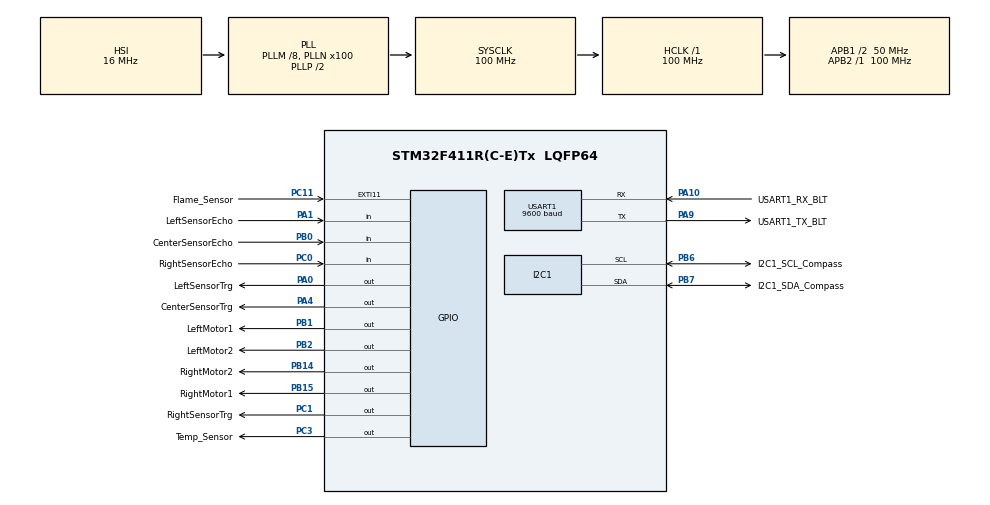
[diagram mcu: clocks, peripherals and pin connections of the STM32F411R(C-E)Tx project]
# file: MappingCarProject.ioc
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Dma.Request0=USART1_RX
Dma.Request1=USART1_TX
Dma.USART1_RX.0.Direction=DMA_PERIPH_TO_MEMORY
Dma.USART1_RX.0.FIFOMode=DMA_FIFOMODE_DISABLE
Dma.USART1_RX.0.Instance=DMA2_Stream2
Dma.USART1_RX.0.MemDataAlignment=DMA_MDATAALIGN_BYTE
Dma.USART1_RX.0.MemInc=DMA_MINC_ENABLE
Dma.USART1_RX.0.Mode=DMA_CIRCULAR
Dma.USART1_RX.0.PeriphDataAlignment=DMA_PDATAALIGN_BYTE
Dma.USART1_RX.0.PeriphInc=DMA_PINC_DISABLE
Dma.USART1_RX.0.Priority=DMA_PRIORITY_VERY_HIGH
Dma.USART1_TX.1.Direction=DMA_MEMORY_TO_PERIPH
Dma.USART1_TX.1.FIFOMode=DMA_FIFOMODE_DISABLE
Dma.USART1_TX.1.Instance=DMA2_Stream7
Dma.USART1_TX.1.MemDataAlignment=DMA_MDATAALIGN_BYTE
Dma.USART1_TX.1.MemInc=DMA_MINC_ENABLE
Dma.USART1_TX.1.Mode=DMA_NORMAL
Dma.USART1_TX.1.PeriphDataAlignment=DMA_PDATAALIGN_BYTE
Dma.USART1_TX.1.PeriphInc=DMA_PINC_DISABLE
Dma.USART1_TX.1.Priority=DMA_PRIORITY_VERY_HIGH
Mcu.Family=STM32F4
Mcu.Name=STM32F411R(C-E)Tx
Mcu.Package=LQFP64
NVIC.DMA2_Stream2_IRQn=true\:0\:0\:false\:false\:true\:false\:true
NVIC.DMA2_Stream7_IRQn=true\:0\:0\:false\:false\:true\:false\:true
NVIC.EXTI15_10_IRQn=true\:0\:0\:false\:false\:true\:true\:true
NVIC.PriorityGroup=NVIC_PRIORITYGROUP_0
NVIC.TIM1_UP_TIM10_IRQn=true\:0\:0\:false\:false\:true\:true\:true
NVIC.TIM2_IRQn=true\:0\:0\:false\:false\:true\:true\:true
NVIC.TIM4_IRQn=true\:0\:0\:false\:false\:true\:true\:true
NVIC.USART1_IRQn=true\:0\:0\:false\:false\:true\:true\:true
PA0-WKUP.GPIO_Label=LeftSensorTrg
PA0-WKUP.GPIO_Speed=GPIO_SPEED_FREQ_VERY_HIGH
PA0-WKUP.Signal=GPIO_Output
PA1.GPIO_Label=LeftSensorEcho
PA1.Signal=GPIO_Input
PA10.GPIO_Label=USART1_RX_BLT
PA10.Mode=Asynchronous
PA10.Signal=USART1_RX
PA4.GPIO_Label=CenterSensorTrg
PA4.GPIO_Speed=GPIO_SPEED_FREQ_VERY_HIGH
PA4.Signal=GPIO_Output
PA9.GPIO_Label=USART1_TX_BLT
PA9.Mode=Asynchronous
PA9.Signal=USART1_TX
PB0.GPIO_Label=CenterSensorEcho
PB0.Signal=GPIO_Input
PB1.GPIO_Label=LeftMotor1
PB1.GPIO_Speed=GPIO_SPEED_FREQ_VERY_HIGH
PB1.Signal=GPIO_Output
PB14.GPIO_Label=RightMotor2
PB14.GPIO_Speed=GPIO_SPEED_FREQ_VERY_HIGH
PB14.Signal=GPIO_Output
PB15.GPIO_Label=RightMotor1
PB15.GPIO_Speed=GPIO_SPEED_FREQ_VERY_HIGH
PB15.Signal=GPIO_Output
PB2.GPIO_Label=LeftMotor2
PB2.GPIO_Speed=GPIO_SPEED_FREQ_VERY_HIGH
PB2.Signal=GPIO_Output
PB6.GPIO_Label=I2C1_SCL_Compass
PB6.Mode=I2C
PB6.Signal=I2C1_SCL
PB7.GPIO_Label=I2C1_SDA_Compass
PB7.Mode=I2C
PB7.Signal=I2C1_SDA
PC0.GPIO_Label=RightSensorEcho
PC0.Signal=GPIO_Input
PC1.GPIO_Label=RightSensorTrg
PC1.GPIO_Speed=GPIO_SPEED_FREQ_VERY_HIGH
PC1.Signal=GPIO_Output
PC11.GPIO_Label=Flame_Sensor
PC11.GPIO_ModeDefaultEXTI=GPIO_MODE_IT_RISING_FALLING
PC11.GPIO_PuPd=GPIO_NOPULL
PC11.Signal=GPXTI11
PC3.GPIO_Label=Temp_Sensor
PC3.GPIO_PuPd=GPIO_PULLUP
PC3.GPIO_Speed=GPIO_SPEED_FREQ_VERY_HIGH
PC3.Signal=GPIO_Output
ProjectManager.HeapSize=0x200
ProjectManager.StackSize=0x400
ProjectManager.TargetToolchain=STM32CubeIDE
RCC.48MHZClocksFreq_Value=50000000
RCC.AHBFreq_Value=100000000
RCC.APB1CLKDivider=RCC_HCLK_DIV2
RCC.APB1Freq_Value=50000000
RCC.APB1TimFreq_Value=100000000
RCC.APB2Freq_Value=100000000
RCC.APB2TimFreq_Value=100000000
RCC.CortexFreq_Value=100000000
RCC.FLatency-AdvancedSettings=FLASH_LATENCY_3
RCC.HCLKFreq_Value=100000000
RCC.HSE_VALUE=8000000
RCC.HSI_VALUE=16000000
RCC.LSE_VALUE=32768
RCC.PLLM=8
RCC.PLLN=100
RCC.SYSCLKFreq_VALUE=100000000
RCC.SYSCLKSource=RCC_SYSCLKSOURCE_PLLCLK
RCC.VCOOutputFreq_Value=200000000
TIM1.Period=80-1
TIM1.Prescaler=50000-1
TIM2.Period=5000-1
TIM2.Prescaler=10000-1
TIM3.Period=0xffff-1
TIM3.Prescaler=100-1
TIM4.Period=7500-1
TIM4.Prescaler=10000-1
USART1.BaudRate=9600
USART1.VirtualMode=VM_ASYNC
VP_TIM1_VS_ClockSourceINT.Mode=Internal
VP_TIM2_VS_ClockSourceINT.Mode=Internal
VP_TIM3_VS_ClockSourceINT.Mode=Internal
VP_TIM4_VS_ClockSourceINT.Mode=Internal
board=NUCLEO-F411RE

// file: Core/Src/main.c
/* USER CODE BEGIN Header */
/**
  ******************************************************************************
  * @file           : main.c
  * @brief          : Main program body
  ******************************************************************************
  * @attention
  *
  * <h2><center>&copy; Copyright (c) 2020 STMicroelectronics.
  * All rights reserved.</center></h2>
  *
  * This software component is licensed by ST under BSD 3-Clause license,
  * the "License"; You may not use this file except in compliance with the
  * License. You may obtain a copy of the License at:
  *                        opensource.org/licenses/BSD-3-Clause
  *
  ******************************************************************************
  */
/* USER CODE END Header */

#include "main.h"

/* USER CODE BEGIN Includes */
#include "MotorDriver.h"
#include "BluetoothCom.h"
#include "Magnetometer.h"
#include "WorkQueue.h"
#include <stdio.h>
#include "Temperature.h"
#include "DelayMS.h"
#include "UltraSonicSensor.h"
#include "FlameSensor.h"

/* USER CODE END Includes */

I2C_HandleTypeDef hi2c1;

TIM_HandleTypeDef htim1;
TIM_HandleTypeDef htim2;
TIM_HandleTypeDef htim3;
TIM_HandleTypeDef htim4;

UART_HandleTypeDef huart1;
DMA_HandleTypeDef hdma_usart1_rx;
DMA_HandleTypeDef hdma_usart1_tx;

/* USER CODE BEGIN PV */
uint8_t rxData[3];
uint8_t workData[3];  // for timer interrupt
WorkQueue* workQueue;
/* USER CODE END PV */

void SystemClock_Config(void);
static void MX_GPIO_Init(void);
static void MX_DMA_Init(void);
static void MX_TIM1_Init(void);
static void MX_TIM2_Init(void);
static void MX_TIM3_Init(void);
static void MX_TIM4_Init(void);
static void MX_I2C1_Init(void);
static void MX_USART1_UART_Init(void);
/* USER CODE BEGIN PFP */
void HAL_TIM_PeriodElapsedCallback(TIM_HandleTypeDef *htim)
{

	if(htim == &htim1){
		motorTimerCallback();
		workData[0] =21; // go forward return
		workData[1] =getMotorValue();
		enqueue(workQueue,workData,2);

	}else if(htim == &htim2){ // read compass and ultrasonic sensor
		workData[0] = 40;   // read compass
		enqueue(workQueue,workData,1);
		workData[0] =30; // read distances
		enqueue(workQueue,workData,1);
	}else if(htim == &htim4){  // read temperature
		HAL_TIM_Base_Stop_IT(&htim4); // stop timer
		workData[0] =61; // send temperature value
		enqueue(workQueue,workData,1);
	}
}

void HAL_UART_RxCpltCallback(UART_HandleTypeDef *huart){
//   Prevent unused argument(s) compilation warning
  UNUSED(huart);
 /*  NOTE: This function should not be modified, when the callback is needed,
           the HAL_UART_RxCpltCallback could be implemented in the user file
*/

  enqueue(workQueue,rxData,3);  // add data to the queue

}

void HAL_GPIO_EXTI_Callback(uint16_t GPIO_Pin)
{
  /* Prevent unused argument(s) compilation warning */
  UNUSED(GPIO_Pin);
  /* NOTE: This function Should not be modified, when the callback is needed,
           the HAL_GPIO_EXTI_Callback could be implemented in the user file
   */

  workData[0] =50;  // flame sensor
  enqueue(workQueue,workData,1);
}

void startSensorTimers(){
	HAL_TIM_Base_Start_IT(&htim2); // magnetometer timer
}

void stopSensorTimers(){
	HAL_TIM_Base_Stop_IT(&htim2); // magnetometer timer
}
/* USER CODE END PFP */

int main(void)
{

  /* MCU Configuration--------------------------------------------------------*/

  /* Reset of all peripherals, Initializes the Flash interface and the Systick. */
  HAL_Init();

  /* Configure the system clock */
  SystemClock_Config();

  /* Initialize all configured peripherals */
  MX_GPIO_Init();
  MX_DMA_Init();
  MX_TIM1_Init();
  MX_TIM2_Init();
  MX_TIM3_Init();
  MX_TIM4_Init();
  MX_I2C1_Init();
  MX_USART1_UART_Init();
  /* USER CODE BEGIN 2 */
  workQueue =createQueue(500);

    initDelayMS(&htim3);

    initMotorDriver(LeftMotor1_GPIO_Port,LeftMotor1_Pin,LeftMotor2_Pin,RightMotor1_Pin,RightMotor2_Pin,&htim1);

    initBluetooth(&huart1,rxData,3);

    initMagnetometer(&hi2c1);

    initTemperatureSensor(Temp_Sensor_GPIO_Port,Temp_Sensor_Pin,&htim4);

    initFlameSensor(Flame_Sensor_GPIO_Port,Flame_Sensor_Pin);

    initUltraSonicSensor(LeftSensorTrg_GPIO_Port,LeftSensorTrg_Pin,LeftSensorEcho_GPIO_Port,LeftSensorEcho_Pin
  		  ,CenterSensorTrg_GPIO_Port,CenterSensorTrg_Pin,CenterSensorEcho_GPIO_Port,CenterSensorEcho_Pin
  		  ,RightSensorTrg_GPIO_Port,RightSensorTrg_Pin,RightSensorEcho_GPIO_Port,RightSensorEcho_Pin,&htim3);

    startSensorTimers();

  /* USER CODE END 2 */

  /* Infinite loop */
  /* USER CODE BEGIN WHILE */
    uint8_t* currentWork;
    uint16_t value;
  while (1)
  {
	  currentWork =dequeue(workQueue);
		  if(currentWork != NULL){
				switch(currentWork[0]){
				case 10:  // turn command
					stopSensorTimers();
					value = ((uint16_t)(currentWork[1] << 8)) | currentWork[2];
					turnCar(value);
					sendMotorMissionEnded();
					startSensorTimers();
					break;
				case 20 :  // go forward command
					stopSensorTimers();
					readCompass(1);
					measureDistances(0);
					value = ((uint16_t)(currentWork[1] << 8)) | currentWork[2];
					goForward(value);
					break;
				case 21 : // go forward return
					readCompass(0);
					motorGoForwardReturn();
					measureDistances(1);
					if(currentWork[1] == 0){
						sendMotorMissionEnded();
						startSensorTimers();
					}
					break;
				case 25 : // stop mission command
					setMotorValue(1);
					break;
				case 30 :
					measureDistances(0);
					break;
				case 40:
					readCompass(0);
					break;
				case 50:
					readFlameSensor();
					break;
				case 60:  // measure temperature
					measureTemperature();
					break;
				case 61:  // send temperature value
					sendTemperatureVal();
					break;
				default :
					break;
				}
		  }

    /* USER CODE END WHILE */

  }
}

void SystemClock_Config(void)
{
  RCC_OscInitTypeDef RCC_OscInitStruct = {0};
  RCC_ClkInitTypeDef RCC_ClkInitStruct = {0};

  /** Configure the main internal regulator output voltage
  */
  __HAL_RCC_PWR_CLK_ENABLE();
  __HAL_PWR_VOLTAGESCALING_CONFIG(PWR_REGULATOR_VOLTAGE_SCALE1);
  /** Initializes the CPU, AHB and APB busses clocks
  */
  RCC_OscInitStruct.OscillatorType = RCC_OSCILLATORTYPE_HSI;
  RCC_OscInitStruct.HSIState = RCC_HSI_ON;
  RCC_OscInitStruct.HSICalibrationValue = RCC_HSICALIBRATION_DEFAULT;
  RCC_OscInitStruct.PLL.PLLState = RCC_PLL_ON;
  RCC_OscInitStruct.PLL.PLLSource = RCC_PLLSOURCE_HSI;
  RCC_OscInitStruct.PLL.PLLM = 8;
  RCC_OscInitStruct.PLL.PLLN = 100;
  RCC_OscInitStruct.PLL.PLLP = RCC_PLLP_DIV2;
  RCC_OscInitStruct.PLL.PLLQ = 4;
  if (HAL_RCC_OscConfig(&RCC_OscInitStruct) != HAL_OK)
  {
    Error_Handler();
  }
  /** Initializes the CPU, AHB and APB busses clocks
  */
  RCC_ClkInitStruct.ClockType = RCC_CLOCKTYPE_HCLK|RCC_CLOCKTYPE_SYSCLK
                              |RCC_CLOCKTYPE_PCLK1|RCC_CLOCKTYPE_PCLK2;
  RCC_ClkInitStruct.SYSCLKSource = RCC_SYSCLKSOURCE_PLLCLK;
  RCC_ClkInitStruct.AHBCLKDivider = RCC_SYSCLK_DIV1;
  RCC_ClkInitStruct.APB1CLKDivider = RCC_HCLK_DIV2;
  RCC_ClkInitStruct.APB2CLKDivider = RCC_HCLK_DIV1;

  if (HAL_RCC_ClockConfig(&RCC_ClkInitStruct, FLASH_LATENCY_3) != HAL_OK)
  {
    Error_Handler();
  }
}

static void MX_I2C1_Init(void)
{

  hi2c1.Instance = I2C1;
  hi2c1.Init.ClockSpeed = 100000;
  hi2c1.Init.DutyCycle = I2C_DUTYCYCLE_2;
  hi2c1.Init.OwnAddress1 = 0;
  hi2c1.Init.AddressingMode = I2C_ADDRESSINGMODE_7BIT;
  hi2c1.Init.DualAddressMode = I2C_DUALADDRESS_DISABLE;
  hi2c1.Init.OwnAddress2 = 0;
  hi2c1.Init.GeneralCallMode = I2C_GENERALCALL_DISABLE;
  hi2c1.Init.NoStretchMode = I2C_NOSTRETCH_DISABLE;
  if (HAL_I2C_Init(&hi2c1) != HAL_OK)
  {
    Error_Handler();
  }

}

static void MX_TIM1_Init(void)
{

  TIM_ClockConfigTypeDef sClockSourceConfig = {0};
  TIM_MasterConfigTypeDef sMasterConfig = {0};

  htim1.Instance = TIM1;
  htim1.Init.Prescaler = 50000-1;
  htim1.Init.CounterMode = TIM_COUNTERMODE_UP;
  htim1.Init.Period = 80-1;
  htim1.Init.ClockDivision = TIM_CLOCKDIVISION_DIV1;
  htim1.Init.RepetitionCounter = 0;
  htim1.Init.AutoReloadPreload = TIM_AUTORELOAD_PRELOAD_DISABLE;
  if (HAL_TIM_Base_Init(&htim1) != HAL_OK)
  {
    Error_Handler();
  }
  sClockSourceConfig.ClockSource = TIM_CLOCKSOURCE_INTERNAL;
  if (HAL_TIM_ConfigClockSource(&htim1, &sClockSourceConfig) != HAL_OK)
  {
    Error_Handler();
  }
  sMasterConfig.MasterOutputTrigger = TIM_TRGO_RESET;
  sMasterConfig.MasterSlaveMode = TIM_MASTERSLAVEMODE_DISABLE;
  if (HAL_TIMEx_MasterConfigSynchronization(&htim1, &sMasterConfig) != HAL_OK)
  {
    Error_Handler();
  }
  /* USER CODE BEGIN TIM1_Init 2 */
  __HAL_TIM_CLEAR_IT(&htim1,TIM_SR_UIF);
  /* USER CODE END TIM1_Init 2 */

}

static void MX_TIM2_Init(void)
{

  TIM_ClockConfigTypeDef sClockSourceConfig = {0};
  TIM_MasterConfigTypeDef sMasterConfig = {0};

  htim2.Instance = TIM2;
  htim2.Init.Prescaler = 10000-1;
  htim2.Init.CounterMode = TIM_COUNTERMODE_UP;
  htim2.Init.Period = 5000-1;
  htim2.Init.ClockDivision = TIM_CLOCKDIVISION_DIV1;
  htim2.Init.AutoReloadPreload = TIM_AUTORELOAD_PRELOAD_DISABLE;
  if (HAL_TIM_Base_Init(&htim2) != HAL_OK)
  {
    Error_Handler();
  }
  sClockSourceConfig.ClockSource = TIM_CLOCKSOURCE_INTERNAL;
  if (HAL_TIM_ConfigClockSource(&htim2, &sClockSourceConfig) != HAL_OK)
  {
    Error_Handler();
  }
  sMasterConfig.MasterOutputTrigger = TIM_TRGO_RESET;
  sMasterConfig.MasterSlaveMode = TIM_MASTERSLAVEMODE_DISABLE;
  if (HAL_TIMEx_MasterConfigSynchronization(&htim2, &sMasterConfig) != HAL_OK)
  {
    Error_Handler();
  }
  /* USER CODE BEGIN TIM2_Init 2 */
  __HAL_TIM_CLEAR_IT(&htim2,TIM_SR_UIF);
  /* USER CODE END TIM2_Init 2 */

}

static void MX_TIM3_Init(void)
{

  TIM_ClockConfigTypeDef sClockSourceConfig = {0};
  TIM_MasterConfigTypeDef sMasterConfig = {0};

  htim3.Instance = TIM3;
  htim3.Init.Prescaler = 100-1;
  htim3.Init.CounterMode = TIM_COUNTERMODE_UP;
  htim3.Init.Period = 0xffff-1;
  htim3.Init.ClockDivision = TIM_CLOCKDIVISION_DIV1;
  htim3.Init.AutoReloadPreload = TIM_AUTORELOAD_PRELOAD_DISABLE;
  if (HAL_TIM_Base_Init(&htim3) != HAL_OK)
  {
    Error_Handler();
  }
  sClockSourceConfig.ClockSource = TIM_CLOCKSOURCE_INTERNAL;
  if (HAL_TIM_ConfigClockSource(&htim3, &sClockSourceConfig) != HAL_OK)
  {
    Error_Handler();
  }
  sMasterConfig.MasterOutputTrigger = TIM_TRGO_RESET;
  sMasterConfig.MasterSlaveMode = TIM_MASTERSLAVEMODE_DISABLE;
  if (HAL_TIMEx_MasterConfigSynchronization(&htim3, &sMasterConfig) != HAL_OK)
  {
    Error_Handler();
  }
  /* USER CODE BEGIN TIM3_Init 2 */
  __HAL_TIM_CLEAR_IT(&htim3,TIM_SR_UIF);
  /* USER CODE END TIM3_Init 2 */

}

static void MX_TIM4_Init(void)
{

  TIM_ClockConfigTypeDef sClockSourceConfig = {0};
  TIM_MasterConfigTypeDef sMasterConfig = {0};

  htim4.Instance = TIM4;
  htim4.Init.Prescaler = 10000-1;
  htim4.Init.CounterMode = TIM_COUNTERMODE_UP;
  htim4.Init.Period = 7500-1;
  htim4.Init.ClockDivision = TIM_CLOCKDIVISION_DIV1;
  htim4.Init.AutoReloadPreload = TIM_AUTORELOAD_PRELOAD_DISABLE;
  if (HAL_TIM_Base_Init(&htim4) != HAL_OK)
  {
    Error_Handler();
  }
  sClockSourceConfig.ClockSource = TIM_CLOCKSOURCE_INTERNAL;
  if (HAL_TIM_ConfigClockSource(&htim4, &sClockSourceConfig) != HAL_OK)
  {
    Error_Handler();
  }
  sMasterConfig.MasterOutputTrigger = TIM_TRGO_RESET;
  sMasterConfig.MasterSlaveMode = TIM_MASTERSLAVEMODE_DISABLE;
  if (HAL_TIMEx_MasterConfigSynchronization(&htim4, &sMasterConfig) != HAL_OK)
  {
    Error_Handler();
  }
  /* USER CODE BEGIN TIM4_Init 2 */
  __HAL_TIM_CLEAR_IT(&htim4,TIM_SR_UIF);
  /* USER CODE END TIM4_Init 2 */

}

static void MX_USART1_UART_Init(void)
{

  huart1.Instance = USART1;
  huart1.Init.BaudRate = 9600;
  huart1.Init.WordLength = UART_WORDLENGTH_8B;
  huart1.Init.StopBits = UART_STOPBITS_1;
  huart1.Init.Parity = UART_PARITY_NONE;
  huart1.Init.Mode = UART_MODE_TX_RX;
  huart1.Init.HwFlowCtl = UART_HWCONTROL_NONE;
  huart1.Init.OverSampling = UART_OVERSAMPLING_16;
  if (HAL_UART_Init(&huart1) != HAL_OK)
  {
    Error_Handler();
  }

}

static void MX_DMA_Init(void)
{

  /* DMA controller clock enable */
  __HAL_RCC_DMA2_CLK_ENABLE();

  /* DMA interrupt init */
  /* DMA2_Stream2_IRQn interrupt configuration */
  HAL_NVIC_SetPriority(DMA2_Stream2_IRQn, 0, 0);
  HAL_NVIC_EnableIRQ(DMA2_Stream2_IRQn);
  /* DMA2_Stream7_IRQn interrupt configuration */
  HAL_NVIC_SetPriority(DMA2_Stream7_IRQn, 0, 0);
  HAL_NVIC_EnableIRQ(DMA2_Stream7_IRQn);

}

static void MX_GPIO_Init(void)
{
  GPIO_InitTypeDef GPIO_InitStruct = {0};

  /* GPIO Ports Clock Enable */
  __HAL_RCC_GPIOC_CLK_ENABLE();
  __HAL_RCC_GPIOA_CLK_ENABLE();
  __HAL_RCC_GPIOB_CLK_ENABLE();

  /*Configure GPIO pin Output Level */
  HAL_GPIO_WritePin(GPIOC, RightSensorTrg_Pin|Temp_Sensor_Pin, GPIO_PIN_RESET);

  /*Configure GPIO pin Output Level */
  HAL_GPIO_WritePin(GPIOA, LeftSensorTrg_Pin|CenterSensorTrg_Pin, GPIO_PIN_RESET);

  /*Configure GPIO pin Output Level */
  HAL_GPIO_WritePin(GPIOB, LeftMotor1_Pin|LeftMotor2_Pin|RightMotor2_Pin|RightMotor1_Pin, GPIO_PIN_RESET);

  /*Configure GPIO pin : RightSensorEcho_Pin */
  GPIO_InitStruct.Pin = RightSensorEcho_Pin;
  GPIO_InitStruct.Mode = GPIO_MODE_INPUT;
  GPIO_InitStruct.Pull = GPIO_NOPULL;
  HAL_GPIO_Init(RightSensorEcho_GPIO_Port, &GPIO_InitStruct);

  /*Configure GPIO pin : RightSensorTrg_Pin */
  GPIO_InitStruct.Pin = RightSensorTrg_Pin;
  GPIO_InitStruct.Mode = GPIO_MODE_OUTPUT_PP;
  GPIO_InitStruct.Pull = GPIO_NOPULL;
  GPIO_InitStruct.Speed = GPIO_SPEED_FREQ_VERY_HIGH;
  HAL_GPIO_Init(RightSensorTrg_GPIO_Port, &GPIO_InitStruct);

  /*Configure GPIO pin : Temp_Sensor_Pin */
  GPIO_InitStruct.Pin = Temp_Sensor_Pin;
  GPIO_InitStruct.Mode = GPIO_MODE_OUTPUT_PP;
  GPIO_InitStruct.Pull = GPIO_PULLUP;
  GPIO_InitStruct.Speed = GPIO_SPEED_FREQ_VERY_HIGH;
  HAL_GPIO_Init(Temp_Sensor_GPIO_Port, &GPIO_InitStruct);

  /*Configure GPIO pins : LeftSensorTrg_Pin CenterSensorTrg_Pin */
  GPIO_InitStruct.Pin = LeftSensorTrg_Pin|CenterSensorTrg_Pin;
  GPIO_InitStruct.Mode = GPIO_MODE_OUTPUT_PP;
  GPIO_InitStruct.Pull = GPIO_NOPULL;
  GPIO_InitStruct.Speed = GPIO_SPEED_FREQ_VERY_HIGH;
  HAL_GPIO_Init(GPIOA, &GPIO_InitStruct);

  /*Configure GPIO pin : LeftSensorEcho_Pin */
  GPIO_InitStruct.Pin = LeftSensorEcho_Pin;
  GPIO_InitStruct.Mode = GPIO_MODE_INPUT;
  GPIO_InitStruct.Pull = GPIO_NOPULL;
  HAL_GPIO_Init(LeftSensorEcho_GPIO_Port, &GPIO_InitStruct);

  /*Configure GPIO pin : CenterSensorEcho_Pin */
  GPIO_InitStruct.Pin = CenterSensorEcho_Pin;
  GPIO_InitStruct.Mode = GPIO_MODE_INPUT;
  GPIO_InitStruct.Pull = GPIO_NOPULL;
  HAL_GPIO_Init(CenterSensorEcho_GPIO_Port, &GPIO_InitStruct);

  /*Configure GPIO pins : LeftMotor1_Pin LeftMotor2_Pin RightMotor2_Pin RightMotor1_Pin */
  GPIO_InitStruct.Pin = LeftMotor1_Pin|LeftMotor2_Pin|RightMotor2_Pin|RightMotor1_Pin;
  GPIO_InitStruct.Mode = GPIO_MODE_OUTPUT_PP;
  GPIO_InitStruct.Pull = GPIO_NOPULL;
  GPIO_InitStruct.Speed = GPIO_SPEED_FREQ_VERY_HIGH;
  HAL_GPIO_Init(GPIOB, &GPIO_InitStruct);

  /*Configure GPIO pin : Flame_Sensor_Pin */
  GPIO_InitStruct.Pin = Flame_Sensor_Pin;
  GPIO_InitStruct.Mode = GPIO_MODE_IT_RISING_FALLING;
  GPIO_InitStruct.Pull = GPIO_NOPULL;
  HAL_GPIO_Init(Flame_Sensor_GPIO_Port, &GPIO_InitStruct);

  /* EXTI interrupt init*/
  HAL_NVIC_SetPriority(EXTI15_10_IRQn, 0, 0);
  HAL_NVIC_EnableIRQ(EXTI15_10_IRQn);

}

void Error_Handler(void)
{
}

/************************ (C) COPYRIGHT STMicroelectronics *****END OF FILE****/
